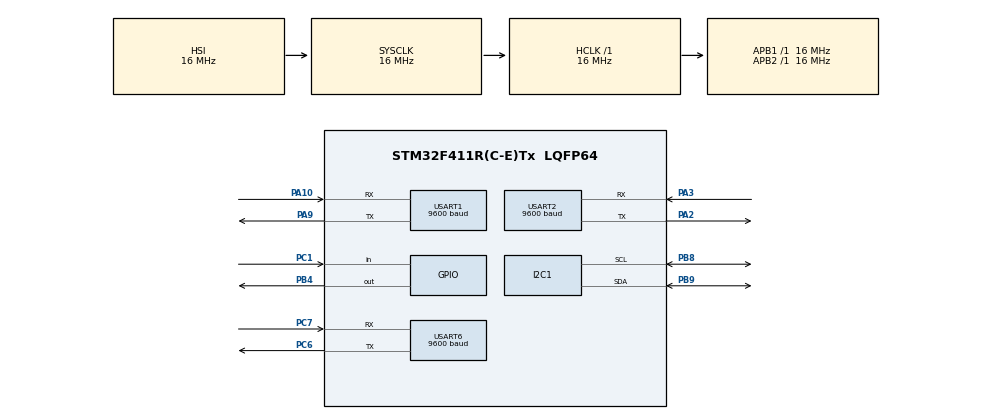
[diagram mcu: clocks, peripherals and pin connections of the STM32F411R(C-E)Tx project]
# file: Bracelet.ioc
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FREERTOS.Queues01=AccelQueue,1,uint16_t,0,Dynamic,NULL,NULL;DetectChuteQueue,1,uint8_t,0,Dynamic,NULL,NULL;GPSQueue,1,uint8_t*,0,Dynamic,NULL,NULL;ButtonQueue,1,uint8_t,0,Dynamic,NULL,NULL
FREERTOS.Tasks01=ReadAcceloTask,-2,128,ReadAcceleration,Default,NULL,Dynamic,NULL,NULL;LedTask,-2,128,led,Default,NULL,Dynamic,NULL,NULL;ReadLocation,-2,128,ReadLocalion,Default,NULL,Dynamic,NULL,NULL;DetectChuteTask,-2,512,DetectChute,Default,NULL,Dynamic,NULL,NULL;GSMTask,-2,128,GSM,Default,NULL,Dynamic,NULL,NULL;AlertButtonTask,-2,128,AlertButton,Default,NULL,Dynamic,NULL,NULL
FREERTOS.configUSE_NEWLIB_REENTRANT=1
I2C1.GeneralCallMode=I2C_GENERALCALL_DISABLE
I2C1.I2C_Mode=I2C_Standard
I2C1.OwnAddress=0
Mcu.Family=STM32F4
Mcu.Name=STM32F411R(C-E)Tx
Mcu.Package=LQFP64
NVIC.PriorityGroup=NVIC_PRIORITYGROUP_4
NVIC.TIM1_UP_TIM10_IRQn=true\:7\:0\:true\:false\:true\:false\:false\:true\:true
NVIC.TimeBase=TIM1_UP_TIM10_IRQn
NVIC.TimeBaseIP=TIM1
NVIC.USART1_IRQn=true\:6\:0\:true\:false\:true\:true\:true\:true\:true
NVIC.USART6_IRQn=true\:5\:0\:false\:false\:true\:true\:true\:true\:true
PA10.Mode=Asynchronous
PA10.Signal=USART1_RX
PA2.Mode=Asynchronous
PA2.Signal=USART2_TX
PA3.Mode=Asynchronous
PA3.Signal=USART2_RX
PA9.Mode=Asynchronous
PA9.Signal=USART1_TX
PB4.Signal=GPIO_Output
PB8.Mode=I2C
PB8.Signal=I2C1_SCL
PB9.Mode=I2C
PB9.Signal=I2C1_SDA
PC1.GPIO_PuPd=GPIO_PULLUP
PC1.Signal=GPIO_Input
PC6.Mode=Asynchronous
PC6.Signal=USART6_TX
PC7.Mode=Asynchronous
PC7.Signal=USART6_RX
ProjectManager.HeapSize=0x200
ProjectManager.StackSize=0x400
ProjectManager.TargetToolchain=STM32CubeIDE
RCC.AHBFreq_Value=16000000
RCC.APB1Freq_Value=16000000
RCC.APB2Freq_Value=16000000
RCC.CortexFreq_Value=16000000
RCC.HSE_VALUE=25000000
RCC.HSI_VALUE=16000000
RCC.LSE_VALUE=32768
RCC.SYSCLKFreq_VALUE=16000000
RCC.VCOOutputFreq_Value=192000000
USART1.BaudRate=9600
USART1.VirtualMode=VM_ASYNC
USART2.BaudRate=9600
USART2.VirtualMode=VM_ASYNC
USART6.BaudRate=9600
USART6.VirtualMode=VM_ASYNC
VP_FREERTOS_VS_CMSIS_V1.Mode=CMSIS_V1
VP_SYS_VS_tim1.Mode=TIM1
board=custom

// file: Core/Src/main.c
/* USER CODE BEGIN Header */
/**
  ******************************************************************************
  * @file           : main.c
  * @brief          : Main program body
  ******************************************************************************
  * @attention
  *
  * Copyright (c) 2024 STMicroelectronics.
  * All rights reserved.
  *
  * This software is licensed under terms that can be found in the LICENSE file
  * in the root directory of this software component.
  * If no LICENSE file comes with this software, it is provided AS-IS.
  *
  ******************************************************************************
  */
/* USER CODE END Header */
#include "main.h"
#include "cmsis_os.h"

/* USER CODE BEGIN Includes */
#include <math.h>
#include <string.h>
#include <stdio.h>
#include "gps_neo6.h"
/* USER CODE END Includes */

/* USER CODE BEGIN PD */
#define ADXL345_ADDRESS 0x53<<1 // ADXL345 I2C address shifted left by 1 bit
#define FALL_THRESHOLD_MIN 0.7
#define FALL_THRESHOLD_MAX 2.0
/* USER CODE END PD */

I2C_HandleTypeDef hi2c1;

UART_HandleTypeDef huart1;
UART_HandleTypeDef huart2;
UART_HandleTypeDef huart6;

osThreadId ReadAcceloTaskHandle;
osThreadId LedTaskHandle;
osThreadId ReadLocationHandle;
osThreadId FallDetectTaskHandle;
osThreadId GSMTaskHandle;
osThreadId AlertButtonTaskHandle;
osMessageQId AccelQueueHandle;
osMessageQId FallDetectQueueHandle;
osMessageQId GPSQueueHandle;
osMessageQId ButtonQueueHandle;
/* USER CODE BEGIN PV */
uint8_t Message[64];
uint8_t MessageLength;
NEO6_State GpsState;
char phone_number[] = "+21658944737";
volatile uint8_t rx_data;
uint8_t rx_buffer[256];
volatile uint16_t rx_index = 0;
volatile uint8_t new_sms_received = 0;
/* USER CODE END PV */

void SystemClock_Config(void);
static void MX_GPIO_Init(void);
static void MX_I2C1_Init(void);
static void MX_USART2_UART_Init(void);
static void MX_USART1_UART_Init(void);
static void MX_USART6_UART_Init(void);
void ReadAcceleration(void const * argument);
void ReadLocalion(void const * argument);
void FallDetect(void const * argument);
void GSM(void const * argument);
void AlertButton(void const * argument);

/* USER CODE BEGIN PFP */
void ADXL345_Init();
void adxl_write(uint8_t reg,uint8_t value);
void SendSms(char* message);
void HAL_UART_RxCpltCallback(UART_HandleTypeDef *huart);
void GSM_Init(void);
/* USER CODE END PFP */

int main(void)
{

  /* MCU Configuration--------------------------------------------------------*/

  /* Reset of all peripherals, Initializes the Flash interface and the Systick. */
  HAL_Init();

  /* Configure the system clock */
  SystemClock_Config();

  /* Initialize all configured peripherals */
  MX_GPIO_Init();
  MX_I2C1_Init();
  MX_USART2_UART_Init();
  MX_USART1_UART_Init();
  MX_USART6_UART_Init();
  /* USER CODE BEGIN 2 */
  ADXL345_Init();
  NEO6_Init(&GpsState, &huart1);
  GSM_Init();
  /* USER CODE END 2 */

  /* Create the queue(s) */
  /* definition and creation of AccelQueue */
  osMessageQDef(AccelQueue, 1, uint16_t);
  AccelQueueHandle = osMessageCreate(osMessageQ(AccelQueue), NULL);

  /* definition and creation of DetectChuteQueue */
  osMessageQDef(DetectChuteQueue, 1, uint8_t);
  FallDetectQueueHandle = osMessageCreate(osMessageQ(DetectChuteQueue), NULL);

  /* definition and creation of GPSQueue */
  osMessageQDef(GPSQueue, 1, uint8_t*);
  GPSQueueHandle = osMessageCreate(osMessageQ(GPSQueue), NULL);

  /* definition and creation of ButtonQueue */
  osMessageQDef(ButtonQueue, 1, uint8_t);
  ButtonQueueHandle = osMessageCreate(osMessageQ(ButtonQueue), NULL);

  /* Create the thread(s) */
  /* definition and creation of ReadAcceloTask */
  osThreadDef(ReadAcceloTask, ReadAcceleration, osPriorityLow, 0, 128);
  ReadAcceloTaskHandle = osThreadCreate(osThread(ReadAcceloTask), NULL);

  /* definition and creation of ReadLocation */
  osThreadDef(ReadLocation, ReadLocalion, osPriorityLow, 0, 128);
  ReadLocationHandle = osThreadCreate(osThread(ReadLocation), NULL);

  /* definition and creation of DetectChuteTask */
  osThreadDef(DetectChuteTask, DetectChute, osPriorityLow, 0, 512);
  FallDetectTaskHandle = osThreadCreate(osThread(DetectChuteTask), NULL);

  /* definition and creation of GSMTask */
  osThreadDef(GSMTask, GSM, osPriorityLow, 0, 128);
  GSMTaskHandle = osThreadCreate(osThread(GSMTask), NULL);

  /* definition and creation of AlertButtonTask */
  osThreadDef(AlertButtonTask, AlertButton, osPriorityLow, 0, 128);
  AlertButtonTaskHandle = osThreadCreate(osThread(AlertButtonTask), NULL);

  /* Start scheduler */
  osKernelStart();

  /* We should never get here as control is now taken by the scheduler */
  /* Infinite loop */
  while (1)
  {

  }
}

void SystemClock_Config(void)
{
  RCC_OscInitTypeDef RCC_OscInitStruct = {0};
  RCC_ClkInitTypeDef RCC_ClkInitStruct = {0};

  /** Configure the main internal regulator output voltage
  */
  __HAL_RCC_PWR_CLK_ENABLE();
  __HAL_PWR_VOLTAGESCALING_CONFIG(PWR_REGULATOR_VOLTAGE_SCALE1);

  /** Initializes the RCC Oscillators according to the specified parameters
  * in the RCC_OscInitTypeDef structure.
  */
  RCC_OscInitStruct.OscillatorType = RCC_OSCILLATORTYPE_HSI;
  RCC_OscInitStruct.HSIState = RCC_HSI_ON;
  RCC_OscInitStruct.HSICalibrationValue = RCC_HSICALIBRATION_DEFAULT;
  RCC_OscInitStruct.PLL.PLLState = RCC_PLL_NONE;
  if (HAL_RCC_OscConfig(&RCC_OscInitStruct) != HAL_OK)
  {
    Error_Handler();
  }

  /** Initializes the CPU, AHB and APB buses clocks
  */
  RCC_ClkInitStruct.ClockType = RCC_CLOCKTYPE_HCLK|RCC_CLOCKTYPE_SYSCLK
                              |RCC_CLOCKTYPE_PCLK1|RCC_CLOCKTYPE_PCLK2;
  RCC_ClkInitStruct.SYSCLKSource = RCC_SYSCLKSOURCE_HSI;
  RCC_ClkInitStruct.AHBCLKDivider = RCC_SYSCLK_DIV1;
  RCC_ClkInitStruct.APB1CLKDivider = RCC_HCLK_DIV1;
  RCC_ClkInitStruct.APB2CLKDivider = RCC_HCLK_DIV1;

  if (HAL_RCC_ClockConfig(&RCC_ClkInitStruct, FLASH_LATENCY_0) != HAL_OK)
  {
    Error_Handler();
  }
}

static void MX_I2C1_Init(void)
{

  hi2c1.Instance = I2C1;
  hi2c1.Init.ClockSpeed = 100000;
  hi2c1.Init.DutyCycle = I2C_DUTYCYCLE_2;
  hi2c1.Init.OwnAddress1 = 0;
  hi2c1.Init.AddressingMode = I2C_ADDRESSINGMODE_7BIT;
  hi2c1.Init.DualAddressMode = I2C_DUALADDRESS_DISABLE;
  hi2c1.Init.OwnAddress2 = 0;
  hi2c1.Init.GeneralCallMode = I2C_GENERALCALL_DISABLE;
  hi2c1.Init.NoStretchMode = I2C_NOSTRETCH_DISABLE;
  if (HAL_I2C_Init(&hi2c1) != HAL_OK)
  {
    Error_Handler();
  }

}

static void MX_USART1_UART_Init(void)
{

  huart1.Instance = USART1;
  huart1.Init.BaudRate = 9600;
  huart1.Init.WordLength = UART_WORDLENGTH_8B;
  huart1.Init.StopBits = UART_STOPBITS_1;
  huart1.Init.Parity = UART_PARITY_NONE;
  huart1.Init.Mode = UART_MODE_TX_RX;
  huart1.Init.HwFlowCtl = UART_HWCONTROL_NONE;
  huart1.Init.OverSampling = UART_OVERSAMPLING_16;
  if (HAL_UART_Init(&huart1) != HAL_OK)
  {
    Error_Handler();
  }

}

static void MX_USART2_UART_Init(void)
{

  huart2.Instance = USART2;
  huart2.Init.BaudRate = 9600;
  huart2.Init.WordLength = UART_WORDLENGTH_8B;
  huart2.Init.StopBits = UART_STOPBITS_1;
  huart2.Init.Parity = UART_PARITY_NONE;
  huart2.Init.Mode = UART_MODE_TX_RX;
  huart2.Init.HwFlowCtl = UART_HWCONTROL_NONE;
  huart2.Init.OverSampling = UART_OVERSAMPLING_16;
  if (HAL_UART_Init(&huart2) != HAL_OK)
  {
    Error_Handler();
  }

}

static void MX_USART6_UART_Init(void)
{

  huart6.Instance = USART6;
  huart6.Init.BaudRate = 9600;
  huart6.Init.WordLength = UART_WORDLENGTH_8B;
  huart6.Init.StopBits = UART_STOPBITS_1;
  huart6.Init.Parity = UART_PARITY_NONE;
  huart6.Init.Mode = UART_MODE_TX_RX;
  huart6.Init.HwFlowCtl = UART_HWCONTROL_NONE;
  huart6.Init.OverSampling = UART_OVERSAMPLING_16;
  if (HAL_UART_Init(&huart6) != HAL_OK)
  {
    Error_Handler();
  }
  /* USER CODE BEGIN USART6_Init 2 */
  // Start UART receive interrupt
      HAL_UART_Receive_IT(&huart6, &rx_data, 1);
  /* USER CODE END USART6_Init 2 */

}

static void MX_GPIO_Init(void)
{
  GPIO_InitTypeDef GPIO_InitStruct = {0};

  /* GPIO Ports Clock Enable */
  __HAL_RCC_GPIOC_CLK_ENABLE();
  __HAL_RCC_GPIOA_CLK_ENABLE();
  __HAL_RCC_GPIOB_CLK_ENABLE();

  /*Configure GPIO pin Output Level */
  HAL_GPIO_WritePin(GPIOB, GPIO_PIN_4, GPIO_PIN_RESET);

  /*Configure GPIO pin : PC1 */
  GPIO_InitStruct.Pin = GPIO_PIN_1;
  GPIO_InitStruct.Mode = GPIO_MODE_INPUT;
  GPIO_InitStruct.Pull = GPIO_PULLUP;
  HAL_GPIO_Init(GPIOC, &GPIO_InitStruct);

  /*Configure GPIO pin : PB4 */
  GPIO_InitStruct.Pin = GPIO_PIN_4;
  GPIO_InitStruct.Mode = GPIO_MODE_OUTPUT_PP;
  GPIO_InitStruct.Pull = GPIO_NOPULL;
  GPIO_InitStruct.Speed = GPIO_SPEED_FREQ_LOW;
  HAL_GPIO_Init(GPIOB, &GPIO_InitStruct);

}

/* USER CODE BEGIN 4 */

void adxl_write(uint8_t reg,uint8_t value){
	uint8_t data[2];
	data[0] = reg; // Address of the POWER_CTL register
	data[1] = value; // Enable the sensor
	HAL_I2C_Master_Transmit(&hi2c1, ADXL345_ADDRESS, data, 2, 200);
}

void ADXL345_Init()
{
	  adxl_write(0x31,0x03); // Configure the measurement range to ±16+g
	  // Enable the ADXL345 accelerometer by writing 0x08 to the POWER_CTL register (Address: 0x2D)
	  adxl_write(0x2d,0x00);
	  adxl_write(0x2d,0x08);
}

void HAL_UART_RxCpltCallback(UART_HandleTypeDef *huart)
{
	if(huart == GpsState.neo6_huart)
	{
		NEO6_ReceiveUartChar(&GpsState);
	}
	else if (huart->Instance == USART6)
    {
        // Store received data into buffer
        rx_buffer[rx_index++] = rx_data;

        // Check for end of message (e.g., newline character)
        if (rx_data == '\n')
        {
            rx_buffer[rx_index] = '\0'; // Null-terminate the buffer
            rx_index = 0; // Reset index for next message
            new_sms_received = 1; // Set flag to indicate a new message received
        }

        // Continue receiving data
        HAL_UART_Receive_IT(&huart6, &rx_data, 1);
    }
}

void GSM_Init(void)
{
	char msg[50];
	char cnmi_cmd[] = "AT+CNMI=2,2,0,0,0\r\n";
	char text_mode_cmd[] = "AT+CMGF=1\r\n";
	char init_cmd[] = "AT\r\n";

	sprintf(msg,"\r\n Initializing the GSM module\r\n");
	HAL_UART_Transmit(&huart2, (uint8_t*)msg, strlen(msg), 1000);
    HAL_UART_Transmit(&huart6, (uint8_t*)init_cmd, strlen(init_cmd), 1000);
    HAL_Delay(1000);

    // Set SMS text mode
    HAL_UART_Transmit(&huart6, (uint8_t*)text_mode_cmd, strlen(text_mode_cmd), 1000);
    HAL_Delay(1000);

    // Enable new message indications
    HAL_UART_Transmit(&huart6, (uint8_t*)cnmi_cmd, strlen(cnmi_cmd), 1000);
    HAL_Delay(1000);

}

void SendSms(char* message){
	char cmd[256];

	// Send SMS command sequence
	        sprintf(cmd, "AT+CMGF=1\r\n");
	        HAL_UART_Transmit(&huart6, (uint8_t*)cmd, strlen(cmd), 1000);
	        vTaskDelay(1000/portTICK_RATE_MS);

	        sprintf(cmd, "AT+CMGS=\"%s\"\r\n", phone_number);
	        HAL_UART_Transmit(&huart6, (uint8_t*)cmd, strlen(cmd), 1000);
	        vTaskDelay(1000/portTICK_RATE_MS);

	        HAL_UART_Transmit(&huart6, (uint8_t*)message, strlen(message), 1000);
	        vTaskDelay(1000/portTICK_RATE_MS);

	        // End of message character (Ctrl+Z or 0x1A in ASCII)
	        uint8_t end_char = 0x1A;
	        HAL_UART_Transmit(&huart6, &end_char, 1, 1000);
}

/* USER CODE END 4 */

void ReadAcceleration(void const * argument)
{
  /* USER CODE BEGIN 5 */
	uint8_t data_rec[6];
	int16_t x,y,z;
	float xg,yg,zg,a;
  /* Infinite loop */
  for(;;)
  {
	  // Read 6 bytes of data starting from the DATAX0 register (Address: 0x32)
	             HAL_I2C_Mem_Read(&hi2c1, ADXL345_ADDRESS, 0x32 , 1, (uint8_t *) data_rec, 6, 10);
	  	 	    // Combine the two bytes for each axis
	  	 	    x = ((data_rec[1] << 8) | data_rec[0]);
	  	 	    y = ((data_rec[3] << 8) | data_rec[2]);
	  	 	    z = ((data_rec[5] << 8) | data_rec[4]);
	        // convert into g
	  	 	   xg = x * 0.0312;
	  	 	   yg = y * 0.0312;
	  	 	   zg = z * 0.0312;
        // calculate the magnitude
       	    a = sqrtf(powf(xg,2)+powf(yg,2)+powf(zg,2));

       // send data to queue
       xQueueSend(AccelQueueHandle,&a,10);
	   vTaskDelay(400/portTICK_RATE_MS);
  }
  /* USER CODE END 5 */
}

/* USER CODE BEGIN Header_led */
/**
* @brief Function implementing the LedTask thread.
* @param argument: Not used
* @retval None
void ReadLocalion(void const * argument)
{
  /* USER CODE BEGIN ReadLocalion */
	  uint8_t location[100];
  /* Infinite loop */
  for(;;)
  {

	  NEO6_Task(&GpsState);

	  vTaskDelay(1000/portTICK_RATE_MS);
	  			if(NEO6_IsFix(&GpsState))
	  			{

	  			MessageLength = sprintf((char*)Message, "Latitude: %.2f %c\n\r", GpsState.Latitude, GpsState.LatitudeDirection);
	  			HAL_UART_Transmit(&huart2, Message, MessageLength, 100);

	  			MessageLength = sprintf((char*)Message, "Longitude: %06.2f %c\n\r", GpsState.Longitude, GpsState.LongitudeDirection);
	  			HAL_UART_Transmit(&huart2, Message, MessageLength, 100);
	  		    //sprintf(location, "Latitude: %.2f %c, Longitude: %06.2f %c", GpsState.Latitude, GpsState.LatitudeDirection, GpsState.Longitude, GpsState.LongitudeDirection);
	  		   //xQueueOverwrite( GPSQueueHandle, &location );
	  			}
	  	       else
	  				{
	  		   MessageLength = sprintf((char*)Message, "No Fix\n\r");
	  		   HAL_UART_Transmit(&huart2, Message, MessageLength, 1000);
	  		   sprintf(location, "Latitude: 35.7 N, Longitude: 10.67 E");
	  		   xQueueOverwrite( GPSQueueHandle, &location );
	  			    }
	  			  	}

  /* USER CODE END ReadLocalion */
}

void FallDetect(void const * argument)
{
  /* USER CODE BEGIN DetectChute */
	float acc;
	uint8_t ch[100],falldetected;
  /* Infinite loop */
  for(;;)
  {

	  		// read acceleration value
	          xQueueReceive(AccelQueueHandle, &acc,10);
	        	         // Wait for 1 second before checking acceleration again
	        		  	 // detect a free fall
	        		          if(acc<FALL_THRESHOLD_MIN)
	        		          {

	        		             vTaskDelay(700/portTICK_RATE_MS);
	        		             xQueueReceive(AccelQueueHandle, &acc,10);
	        		             //detect damage with the flour
	        		             if(acc>FALL_THRESHOLD_MAX){
	        		          	   vTaskDelay(2000/portTICK_RATE_MS);
	        		          	   int i=0;
	        		          	   falldetected = 1;
	        		          	   while (falldetected || i<10) {
	        		          		   sprintf(ch,"\t acceleration=%f \n", acc);

	        		          		    // Send the formatted data via UART
	        		          		    HAL_UART_Transmit(&huart2, (uint8_t *)ch, strlen(ch), 10);
	        		              	   // Wait for 1 second before checking acceleration again
	        		              	   vTaskDelay(1000/portTICK_RATE_MS);
	        		          		   xQueueReceive(AccelQueueHandle, &acc,10);

	        		          	        if (acc > 1.2 || acc < 0.8 ) {
	        		          	        // If acceleration value exceeds 1.2 or 0.8, exit loop
	        		          	        	falldetected=0;
	        		          	        }
	        		          	        i++;
	        		          	      }
	        		          	  if(falldetected==1)
	        		          	   {
	        		          		   sprintf(ch,"\t fall detected\n");
	        		         	       HAL_UART_Transmit(&huart2, (uint8_t *)ch, strlen(ch), 100);
	        		     	           xQueueSend(FallDetectQueueHandle,&falldetected,10);
	        		          	   }
	        		             }
	        		          vTaskDelay(200/portTICK_RATE_MS);

	                 }

  }
  /* USER CODE END DetectChute */
}

void GSM(void const * argument)
{
  /* USER CODE BEGIN GSM */
    char msg[200];
	uint8_t buttonPressed,falldetected;
	char location[100];
  /* Infinite loop */
  for(;;)
  {

	  if( xQueueReceive( ButtonQueueHandle, &buttonPressed, 0 ))
	  		{
		  xQueueReceive(GPSQueueHandle,&location,0);
		  sprintf(msg,"Alerte ! Une situation critique s'est produite. Besoin d'assistance. Localisation: %s", location);
		  SendSms(msg);
	  		}

	  if( xQueueReceive( FallDetectQueueHandle, &falldetected, 0 )  == pdPASS)
	  		{
		  xQueueReceive(GPSQueueHandle,&location,0);
		  sprintf(msg,"Urgence! détection de chute. Voici sa localisation: %s", location);
		  SendSms(msg);
	  		}
	  if(new_sms_received)
	  	  		{
		  if (strcmp(rx_buffer, "localisation"))
		  {
	  		  xQueueReceive(GPSQueueHandle,&location,0);
	  		  sprintf(msg,"Voici sa localisation: %s", location);
	  		  new_sms_received = 0; // Clear the flag
	  		  SendSms(msg);
		  }
	  	  		}

	  vTaskDelay(100/portTICK_RATE_MS);
  }
  /* USER CODE END GSM */
}

void AlertButton(void const * argument)
{
  /* USER CODE BEGIN AlertButton */
	uint8_t buttonPressed=1;
  /* Infinite loop */
  for(;;)
  {
	  if(HAL_GPIO_ReadPin(GPIOC, GPIO_PIN_1)==0)
	  {
		  xQueueSend(ButtonQueueHandle, &buttonPressed, portMAX_DELAY);
		  HAL_GPIO_TogglePin(GPIOB, GPIO_PIN_4);
		  vTaskDelay(100);
	  }

  }
  /* USER CODE END AlertButton */
}

void HAL_TIM_PeriodElapsedCallback(TIM_HandleTypeDef *htim)
{
  if (htim->Instance == TIM1) {
    HAL_IncTick();
  }
}

void Error_Handler(void)
{
  __disable_irq();
  while (1)
  {
  }
}
